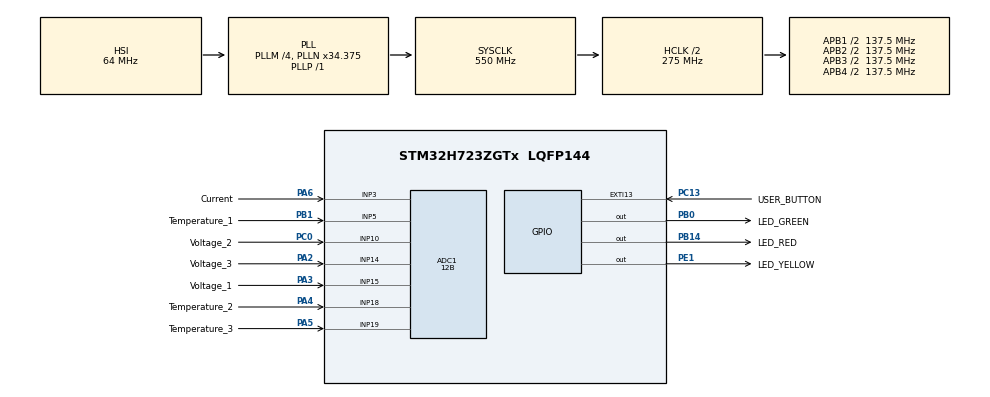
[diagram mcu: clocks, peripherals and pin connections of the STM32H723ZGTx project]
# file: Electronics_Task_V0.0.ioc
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ADC1.Channel-0\#ChannelRegularConversion=ADC_CHANNEL_15
ADC1.Channel-1\#ChannelRegularConversion=ADC_CHANNEL_14
ADC1.Channel-2\#ChannelRegularConversion=ADC_CHANNEL_10
ADC1.Channel-3\#ChannelRegularConversion=ADC_CHANNEL_5
ADC1.Channel-4\#ChannelRegularConversion=ADC_CHANNEL_18
ADC1.Channel-5\#ChannelRegularConversion=ADC_CHANNEL_19
ADC1.Channel-6\#ChannelRegularConversion=ADC_CHANNEL_3
ADC1.ConversionDataManagement=ADC_CONVERSIONDATA_DMA_CIRCULAR
ADC1.EOCSelection=ADC_EOC_SEQ_CONV
ADC1.ExternalTrigConv=ADC_EXTERNALTRIG_T6_TRGO
ADC1.NbrOfConversion=7
ADC1.NbrOfConversionFlag=1
ADC1.OffsetNumber-0\#ChannelRegularConversion=ADC_OFFSET_NONE
ADC1.OffsetNumber-1\#ChannelRegularConversion=ADC_OFFSET_NONE
ADC1.OffsetNumber-2\#ChannelRegularConversion=ADC_OFFSET_NONE
ADC1.OffsetNumber-3\#ChannelRegularConversion=ADC_OFFSET_NONE
ADC1.OffsetNumber-4\#ChannelRegularConversion=ADC_OFFSET_NONE
ADC1.OffsetNumber-5\#ChannelRegularConversion=ADC_OFFSET_NONE
ADC1.OffsetNumber-6\#ChannelRegularConversion=ADC_OFFSET_NONE
ADC1.OffsetSignedSaturation-0\#ChannelRegularConversion=DISABLE
ADC1.OffsetSignedSaturation-1\#ChannelRegularConversion=DISABLE
ADC1.OffsetSignedSaturation-2\#ChannelRegularConversion=DISABLE
ADC1.OffsetSignedSaturation-3\#ChannelRegularConversion=DISABLE
ADC1.OffsetSignedSaturation-4\#ChannelRegularConversion=DISABLE
ADC1.OffsetSignedSaturation-5\#ChannelRegularConversion=DISABLE
ADC1.OffsetSignedSaturation-6\#ChannelRegularConversion=DISABLE
ADC1.Overrun=ADC_OVR_DATA_OVERWRITTEN
ADC1.Rank-0\#ChannelRegularConversion=1
ADC1.Rank-1\#ChannelRegularConversion=2
ADC1.Rank-2\#ChannelRegularConversion=3
ADC1.Rank-3\#ChannelRegularConversion=4
ADC1.Rank-4\#ChannelRegularConversion=5
ADC1.Rank-5\#ChannelRegularConversion=6
ADC1.Rank-6\#ChannelRegularConversion=7
ADC1.Resolution=ADC_RESOLUTION_12B
ADC1.SamplingTime-0\#ChannelRegularConversion=ADC_SAMPLETIME_810CYCLES_5
ADC1.SamplingTime-1\#ChannelRegularConversion=ADC_SAMPLETIME_810CYCLES_5
ADC1.SamplingTime-2\#ChannelRegularConversion=ADC_SAMPLETIME_810CYCLES_5
ADC1.SamplingTime-3\#ChannelRegularConversion=ADC_SAMPLETIME_810CYCLES_5
ADC1.SamplingTime-4\#ChannelRegularConversion=ADC_SAMPLETIME_810CYCLES_5
ADC1.SamplingTime-5\#ChannelRegularConversion=ADC_SAMPLETIME_810CYCLES_5
ADC1.SamplingTime-6\#ChannelRegularConversion=ADC_SAMPLETIME_810CYCLES_5
ADC1.master=1
CORTEX_M7.CPU_ICache=Enabled
CORTEX_M7.default_mode_Activation=1
Dma.ADC1.0.Direction=DMA_PERIPH_TO_MEMORY
Dma.ADC1.0.EventEnable=DISABLE
Dma.ADC1.0.FIFOMode=DMA_FIFOMODE_DISABLE
Dma.ADC1.0.Instance=DMA1_Stream0
Dma.ADC1.0.MemDataAlignment=DMA_MDATAALIGN_HALFWORD
Dma.ADC1.0.MemInc=DMA_MINC_ENABLE
Dma.ADC1.0.Mode=DMA_CIRCULAR
Dma.ADC1.0.PeriphDataAlignment=DMA_PDATAALIGN_HALFWORD
Dma.ADC1.0.PeriphInc=DMA_PINC_DISABLE
Dma.ADC1.0.Polarity=HAL_DMAMUX_REQ_GEN_RISING
Dma.ADC1.0.Priority=DMA_PRIORITY_VERY_HIGH
Dma.ADC1.0.RequestNumber=1
Dma.ADC1.0.SignalID=NONE
Dma.ADC1.0.SyncEnable=DISABLE
Dma.ADC1.0.SyncPolarity=HAL_DMAMUX_SYNC_NO_EVENT
Dma.ADC1.0.SyncRequestNumber=1
Dma.ADC1.0.SyncSignalID=NONE
Dma.Request0=ADC1
Mcu.Family=STM32H7
Mcu.Name=STM32H723ZGTx
Mcu.Package=LQFP144
NVIC.DMA1_Stream0_IRQn=true\:0\:0\:false\:false\:true\:false\:true\:true
NVIC.PriorityGroup=NVIC_PRIORITYGROUP_4
PA13(JTMS/SWDIO).GPIO_Label=SWDIO
PA13(JTMS/SWDIO).Mode=Trace_Asynchronous_SW
PA13(JTMS/SWDIO).Signal=DEBUG_JTMS-SWDIO
PA14(JTCK/SWCLK).GPIO_Label=SWCLK
PA14(JTCK/SWCLK).Mode=Trace_Asynchronous_SW
PA14(JTCK/SWCLK).Signal=DEBUG_JTCK-SWCLK
PA2.GPIO_Label=Voltage_3
PA2.Signal=ADCx_INP14
PA3.GPIO_Label=Voltage_1
PA3.Signal=ADCx_INP15
PA4.GPIO_Label=Temperature_2
PA4.Signal=ADCx_INP18
PA5.GPIO_Label=Temperature_3
PA5.Signal=ADCx_INP19
PA6.GPIO_Label=Current
PA6.Signal=ADCx_INP3
PB0.GPIO_Label=LED_GREEN
PB0.Signal=GPIO_Output
PB1.GPIO_Label=Temperature_1
PB1.Signal=ADCx_INP5
PB14.GPIO_Label=LED_RED
PB14.Signal=GPIO_Output
PB3(JTDO/TRACESWO).Mode=Trace_Asynchronous_SW
PB3(JTDO/TRACESWO).Signal=DEBUG_JTDO-SWO
PC0.GPIO_Label=Voltage_2
PC0.Signal=ADCx_INP10
PC13.GPIO_Label=USER_BUTTON
PC13.Signal=GPXTI13
PC14-OSC32_IN.Mode=LSE-External-Oscillator
PC14-OSC32_IN.Signal=RCC_OSC32_IN
PC15-OSC32_OUT.Mode=LSE-External-Oscillator
PC15-OSC32_OUT.Signal=RCC_OSC32_OUT
PE1.GPIO_Label=LED_YELLOW
PE1.Signal=GPIO_Output
ProjectManager.HeapSize=0x200
ProjectManager.StackSize=0x400
ProjectManager.TargetToolchain=STM32CubeIDE
RCC.ADCFreq_Value=3000000
RCC.APB1Freq_Value=137500000
RCC.APB2Freq_Value=137500000
RCC.APB3Freq_Value=137500000
RCC.APB4Freq_Value=137500000
RCC.CortexFreq_Value=550000000
RCC.D1PPRE=RCC_APB3_DIV2
RCC.D2PPRE1=RCC_APB1_DIV2
RCC.D2PPRE2=RCC_APB2_DIV2
RCC.D3PPRE=RCC_APB4_DIV2
RCC.DIVM1=4
RCC.DIVM2=4
RCC.DIVN1=34
RCC.DIVN2=12
RCC.DIVP1=1
RCC.DIVP2=64
RCC.DIVQ1=4
RCC.HCLKFreq_Value=275000000
RCC.HPRE=RCC_HCLK_DIV2
RCC.HSE_VALUE=8000000
RCC.PLL2FRACN=0
RCC.PLLFRACN=3072
RCC.SYSCLKFreq_VALUE=550000000
RCC.SYSCLKSource=RCC_SYSCLKSOURCE_PLLCLK
RCC.USBCLockSelection=RCC_USBCLKSOURCE_HSI48
RCC.USBFreq_Value=48000000
SH.ADCx_INP10.0=ADC1_INP10,IN10-Single-Ended
SH.ADCx_INP14.0=ADC1_INP14,IN14-Single-Ended
SH.ADCx_INP15.0=ADC1_INP15,IN15-Single-Ended
SH.ADCx_INP18.0=ADC1_INP18,IN18-Single-Ended
SH.ADCx_INP19.0=ADC1_INP19,IN19-Single-Ended
SH.ADCx_INP3.0=ADC1_INP3,IN3-Single-Ended
SH.ADCx_INP5.0=ADC1_INP5,IN5-Single-Ended
TIM6.Period=99
TIM6.Prescaler=27500 - 1
TIM6.TIM_MasterOutputTrigger=TIM_TRGO_UPDATE
VP_MEMORYMAP_VS_MEMORYMAP.Mode=CurAppReg
VP_TIM6_VS_ClockSourceINT.Mode=Enable_Timer
board=NUCLEO-H723ZG

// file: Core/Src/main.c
/* USER CODE BEGIN Header */
/**
 ******************************************************************************
 * @file           : main.c
 * @brief          : Main program body
 ******************************************************************************
 * @attention
 *
 * Copyright (c) 2026 STMicroelectronics.
 * All rights reserved.
 *
 * This software is licensed under terms that can be found in the LICENSE file
 * in the root directory of this software component.
 * If no LICENSE file comes with this software, it is provided AS-IS.
 *
 ******************************************************************************
 */
/* USER CODE END Header */
#include "main.h"
#include "adc.h"
#include "dma.h"
#include "tim.h"
#include "gpio.h"

/* USER CODE BEGIN Includes */
#include<math.h>
/* USER CODE END Includes */

/* USER CODE BEGIN PD */

/* ADC defaults */
#define ADC_CHANNEL_COUNT     7U
#define ADC_MAX_VALUE         4095.0f
#define ADC_VREF              3.3f

/* Voltage divider values */
#define VOLTAGE_R_TOP         47000.0f
#define VOLTAGE_R_BOTTOM      10000.0f

/* NTC divider values: 3.3V -> 10k pull-up -> ADC node -> NTC -> GND */
#define NTC_PULLUP_OHM        10000.0f
#define NTC_R0_OHM            10000.0f
#define NTC_T0_K              298.15f
#define NTC_BETA              3950.0f

/* Hall current sensor: TMCS1101A4B */
#define CURRENT_ZERO_V_DEFAULT        1.65f
#define CURRENT_SENS_V_PER_A          0.400f

/* Digital filtering */
#define MOVING_AVG_SIZE               16U
#define CURRENT_OFFSET_CAL_SAMPLES    128U

/*
 * ADC rank mapping:
 * Rank 1: PA3 / ADC1_INP15 -> Voltage_1
 * Rank 2: PA2 / ADC1_INP14 -> Voltage_3
 * Rank 3: PC0 / ADC1_INP10 -> Voltage_2
 * Rank 4: PB1 / ADC1_INP5  -> Temperature_1
 * Rank 5: PA4 / ADC1_INP18 -> Temperature_2
 * Rank 6: PA5 / ADC1_INP19 -> Temperature_3
 * Rank 7: PA6 / ADC1_INP3  -> Current
 */
#define ADC_V1      0U
#define ADC_V3      1U
#define ADC_V2      2U
#define ADC_T1      3U
#define ADC_T2      4U
#define ADC_T3      5U
#define ADC_I1      6U

#define FILT_V1         0U
#define FILT_V2         1U
#define FILT_V3         2U
#define FILT_T1         3U
#define FILT_T2         4U
#define FILT_T3         5U
#define FILT_I1         6U

/* USER CODE END PD */

/* USER CODE BEGIN PV */

typedef struct
{
	float adc_pin_v[ADC_CHANNEL_COUNT];

	float voltage_1;
	float voltage_2;
	float voltage_3;

	float temperature_1;
	float temperature_2;
	float temperature_3;

	float current;
} MeasurementData;

MeasurementData data;
uint16_t adc_raw[ADC_CHANNEL_COUNT];

volatile uint8_t adc_sequence_ready = 0;
volatile uint32_t adc_sequence_counter = 0;

/* This value is measured at startup with 0 A current */
static float current_zero_v = CURRENT_ZERO_V_DEFAULT;

/* Moving average buffers */
static float moving_avg_buffer[ADC_CHANNEL_COUNT][MOVING_AVG_SIZE] = {0};
static float moving_avg_sum[ADC_CHANNEL_COUNT] = {0};
static uint8_t moving_avg_index = 0;
static uint8_t moving_avg_count = 0;

/* USER CODE END PV */

void SystemClock_Config(void);
static void MPU_Config(void);
/* USER CODE BEGIN PFP */
static float ADCRawToVolt(uint16_t raw);
static float VoltConv(float vadc);
static float NTCRawToTemp(float vadc);
static float HallToCurr(float vadc);

static float MovingAvg_Update(uint8_t channel, float new_sample);
static void MovingAvgHelper(void);
static void CurrOffsetCalibrate(void);

static void main_Func(void);
/* USER CODE END PFP */

int main(void)
{

	/* MPU Configuration--------------------------------------------------------*/
	MPU_Config();

	/* Enable the CPU Cache */

	/* Enable I-Cache---------------------------------------------------------*/
	SCB_EnableICache();

	/* MCU Configuration--------------------------------------------------------*/

	/* Reset of all peripherals, Initializes the Flash interface and the Systick. */
	HAL_Init();

	/* Configure the system clock */
	SystemClock_Config();

	/* Initialize all configured peripherals */
	MX_GPIO_Init();
	MX_DMA_Init();
	MX_ADC1_Init();
	MX_TIM6_Init();
	/* USER CODE BEGIN 2 */
	if (HAL_ADCEx_Calibration_Start(&hadc1, ADC_CALIB_OFFSET, ADC_SINGLE_ENDED) != HAL_OK)
	{
		HAL_GPIO_WritePin(LED_RED_GPIO_Port, LED_RED_Pin, GPIO_PIN_SET);
		Error_Handler();

	}

	if (HAL_ADC_Start_DMA(&hadc1, (uint32_t*)adc_raw, ADC_CHANNEL_COUNT) != HAL_OK)
	{
		HAL_GPIO_WritePin(LED_RED_GPIO_Port, LED_RED_Pin, GPIO_PIN_SET);
		Error_Handler();
	}

	if (HAL_TIM_Base_Start(&htim6) != HAL_OK)
	{
		HAL_GPIO_WritePin(LED_RED_GPIO_Port, LED_RED_Pin, GPIO_PIN_SET);
		Error_Handler();
	}

	CurrOffsetCalibrate();
	/* USER CODE END 2 */

	/* Infinite loop */
	while (1)
	{

		/* USER CODE BEGIN 3 */
		if (adc_sequence_ready)
		{
			adc_sequence_ready = 0;
			main_Func();
			HAL_GPIO_WritePin(LED_GREEN_GPIO_Port, LED_GREEN_Pin, GPIO_PIN_SET);
		}
	}
	/* USER CODE END 3 */
}

void SystemClock_Config(void)
{
	RCC_OscInitTypeDef RCC_OscInitStruct = {0};
	RCC_ClkInitTypeDef RCC_ClkInitStruct = {0};

	/** Supply configuration update enable
	 */
	HAL_PWREx_ConfigSupply(PWR_LDO_SUPPLY);

	/** Configure the main internal regulator output voltage
	 */
	__HAL_PWR_VOLTAGESCALING_CONFIG(PWR_REGULATOR_VOLTAGE_SCALE0);

	while(!__HAL_PWR_GET_FLAG(PWR_FLAG_VOSRDY)) {}

	/** Initializes the RCC Oscillators according to the specified parameters
	 * in the RCC_OscInitTypeDef structure.
	 */
	RCC_OscInitStruct.OscillatorType = RCC_OSCILLATORTYPE_HSI;
	RCC_OscInitStruct.HSIState = RCC_HSI_DIV1;
	RCC_OscInitStruct.HSICalibrationValue = 64;
	RCC_OscInitStruct.PLL.PLLState = RCC_PLL_ON;
	RCC_OscInitStruct.PLL.PLLSource = RCC_PLLSOURCE_HSI;
	RCC_OscInitStruct.PLL.PLLM = 4;
	RCC_OscInitStruct.PLL.PLLN = 34;
	RCC_OscInitStruct.PLL.PLLP = 1;
	RCC_OscInitStruct.PLL.PLLQ = 4;
	RCC_OscInitStruct.PLL.PLLR = 2;
	RCC_OscInitStruct.PLL.PLLRGE = RCC_PLL1VCIRANGE_3;
	RCC_OscInitStruct.PLL.PLLVCOSEL = RCC_PLL1VCOWIDE;
	RCC_OscInitStruct.PLL.PLLFRACN = 3072;
	if (HAL_RCC_OscConfig(&RCC_OscInitStruct) != HAL_OK)
	{
		Error_Handler();
	}

	/** Initializes the CPU, AHB and APB buses clocks
	 */
	RCC_ClkInitStruct.ClockType = RCC_CLOCKTYPE_HCLK|RCC_CLOCKTYPE_SYSCLK
			|RCC_CLOCKTYPE_PCLK1|RCC_CLOCKTYPE_PCLK2
			|RCC_CLOCKTYPE_D3PCLK1|RCC_CLOCKTYPE_D1PCLK1;
	RCC_ClkInitStruct.SYSCLKSource = RCC_SYSCLKSOURCE_PLLCLK;
	RCC_ClkInitStruct.SYSCLKDivider = RCC_SYSCLK_DIV1;
	RCC_ClkInitStruct.AHBCLKDivider = RCC_HCLK_DIV2;
	RCC_ClkInitStruct.APB3CLKDivider = RCC_APB3_DIV2;
	RCC_ClkInitStruct.APB1CLKDivider = RCC_APB1_DIV2;
	RCC_ClkInitStruct.APB2CLKDivider = RCC_APB2_DIV2;
	RCC_ClkInitStruct.APB4CLKDivider = RCC_APB4_DIV2;

	if (HAL_RCC_ClockConfig(&RCC_ClkInitStruct, FLASH_LATENCY_3) != HAL_OK)
	{
		Error_Handler();
	}
}

/* USER CODE BEGIN 4 */

/**
 * @brief  Converts raw ADC value to ADC input voltage.
 * @param  raw ADC raw value.
 * @retval ADC input voltage in volts.
 */
static float ADCRawToVolt(uint16_t raw)
{
	return ((float)raw * ADC_VREF) / ADC_MAX_VALUE;
}

/**
 * @brief  Converts ADC voltage to the real input voltage.
 * @param  vadc Voltage measured at the ADC pin.
 * @retval Input voltage before the voltage divider.
 */
static float VoltConv(float vadc)
{
	return vadc * (VOLTAGE_R_TOP + VOLTAGE_R_BOTTOM) / VOLTAGE_R_BOTTOM;
}

/**
 * @brief  Converts NTC ADC voltage to temperature.
 * @param  vadc Voltage measured at the NTC divider output.
 * @retval Temperature in degrees Celsius.
 */
static float NTCRawToTemp(float vadc)
{
	float r_ntc;
	float temp_k;

	if (vadc <= 0.01f)
	{
		return -273.15f;
	}

	if (vadc >= (ADC_VREF - 0.01f))
	{
		return -273.15f;
	}

	r_ntc = (NTC_PULLUP_OHM * vadc) / (ADC_VREF - vadc);

	temp_k = 1.0f / ((1.0f / NTC_T0_K) + (1.0f / NTC_BETA) * logf(r_ntc / NTC_R0_OHM));

	return temp_k - 273.15f;
}

/**
 * @brief  Converts Hall sensor output voltage to current.
 * @param  vadc Voltage measured at the Hall sensor output.
 * @retval Current in amperes.
 */
static float HallToCurr(float vadc)
{
	return (vadc - current_zero_v) / CURRENT_SENS_V_PER_A;
}

/**
 * @brief  Updates the moving average filter for one channel.
 * @param  channel Channel index.
 * @param  new_sample New sample value.
 * @retval Filtered value.
 */
static float MovingAvg_Update(uint8_t channel, float new_sample)
{
	float divisor;

	if (channel >= ADC_CHANNEL_COUNT)
	{
		return new_sample;
	}

	moving_avg_sum[channel] -= moving_avg_buffer[channel][moving_avg_index];
	moving_avg_buffer[channel][moving_avg_index] = new_sample;
	moving_avg_sum[channel] += new_sample;

	if (moving_avg_count < MOVING_AVG_SIZE)
	{
		divisor = (float)(moving_avg_count + 1U);
	}
	else
	{
		divisor = (float)MOVING_AVG_SIZE;
	}

	return moving_avg_sum[channel] / divisor;
}

/**
 * @brief  Updates the moving average index after one full ADC sequence.
 * @param  None
 * @retval None
 */
static void MovingAvgHelper(void)
{
	if (moving_avg_count < MOVING_AVG_SIZE)
	{
		moving_avg_count++;
	}

	moving_avg_index++;

	if (moving_avg_index >= MOVING_AVG_SIZE)
	{
		moving_avg_index = 0;
	}
}

/**
 * @brief  Converts ADC samples to voltage, temperature and current values.
 * @param  None
 * @retval None
 */
static void main_Func(void)
{
	float v1_raw;
	float v2_raw;
	float v3_raw;

	float t1_raw;
	float t2_raw;
	float t3_raw;

	float current_raw;

	for (uint8_t i = 0; i < ADC_CHANNEL_COUNT; i++)
	{
		data.adc_pin_v[i] = ADCRawToVolt(adc_raw[i]);
	}

	v1_raw = VoltConv(data.adc_pin_v[ADC_V1]);
	v2_raw = VoltConv(data.adc_pin_v[ADC_V2]);
	v3_raw = VoltConv(data.adc_pin_v[ADC_V3]);

	t1_raw = NTCRawToTemp(data.adc_pin_v[ADC_T1]);
	t2_raw = NTCRawToTemp(data.adc_pin_v[ADC_T2]);
	t3_raw = NTCRawToTemp(data.adc_pin_v[ADC_T3]);

	current_raw = HallToCurr(data.adc_pin_v[ADC_I1]);

	data.voltage_1 = MovingAvg_Update(FILT_V1, v1_raw);
	data.voltage_2 = MovingAvg_Update(FILT_V2, v2_raw);
	data.voltage_3 = MovingAvg_Update(FILT_V3, v3_raw);

	data.temperature_1 = MovingAvg_Update(FILT_T1, t1_raw);
	data.temperature_2 = MovingAvg_Update(FILT_T2, t2_raw);
	data.temperature_3 = MovingAvg_Update(FILT_T3, t3_raw);

	data.current = MovingAvg_Update(FILT_I1, current_raw);

	MovingAvgHelper();
}

/**
 * @brief  Calculates Hall sensor offset using zero-current samples.
 * @param  None
 * @retval None
 */
static void CurrOffsetCalibrate(void)
{
	float offset_sum = 0.0f;
	uint16_t samples = 0;
	uint32_t start_tick = HAL_GetTick();

	/*
	 * Wait for CURRENT_OFFSET_CAL_SAMPLES complete ADC sequences.
	 * Current must be 0 A during this step.
	 */
	while (samples < CURRENT_OFFSET_CAL_SAMPLES)
	{
		if (adc_sequence_ready)
		{
			adc_sequence_ready = 0;

			offset_sum += ADCRawToVolt(adc_raw[ADC_I1]);
			samples++;
		}

		/*
		 * Safety timeout: if ADC/DMA/TIM trigger is wrong, do not block forever.
		 */
		if ((HAL_GetTick() - start_tick) > 5000U)
		{
			Error_Handler();
		}
	}

	current_zero_v = offset_sum / (float)CURRENT_OFFSET_CAL_SAMPLES;
}

/**
 * @brief  ADC conversion callback function.
 * @param  hadc Pointer to ADC handle.
 * @retval None
 */
void HAL_ADC_ConvCpltCallback(ADC_HandleTypeDef *hadc)
{
	if (hadc->Instance == ADC1)
	{
		adc_sequence_ready = 1;
		adc_sequence_counter++;//Debug variable
	}
}

/**
 * @brief  ADC error callback function.
 * @param  hadc Pointer to ADC handle.
 * @retval None
 */
void HAL_ADC_ErrorCallback(ADC_HandleTypeDef *hadc)
{
	if (hadc->Instance == ADC1)
	{
		HAL_GPIO_WritePin(LED_RED_GPIO_Port, LED_RED_Pin, GPIO_PIN_SET);
	}
}
/* USER CODE END 4 */

/* MPU Configuration */

void MPU_Config(void)
{
	MPU_Region_InitTypeDef MPU_InitStruct = {0};

	/* Disables the MPU */
	HAL_MPU_Disable();

	/** Initializes and configures the Region and the memory to be protected
	 */
	MPU_InitStruct.Enable = MPU_REGION_ENABLE;
	MPU_InitStruct.Number = MPU_REGION_NUMBER0;
	MPU_InitStruct.BaseAddress = 0x0;
	MPU_InitStruct.Size = MPU_REGION_SIZE_4GB;
	MPU_InitStruct.SubRegionDisable = 0x87;
	MPU_InitStruct.TypeExtField = MPU_TEX_LEVEL0;
	MPU_InitStruct.AccessPermission = MPU_REGION_NO_ACCESS;
	MPU_InitStruct.DisableExec = MPU_INSTRUCTION_ACCESS_DISABLE;
	MPU_InitStruct.IsShareable = MPU_ACCESS_SHAREABLE;
	MPU_InitStruct.IsCacheable = MPU_ACCESS_NOT_CACHEABLE;
	MPU_InitStruct.IsBufferable = MPU_ACCESS_NOT_BUFFERABLE;

	HAL_MPU_ConfigRegion(&MPU_InitStruct);
	/* Enables the MPU */
	HAL_MPU_Enable(MPU_PRIVILEGED_DEFAULT);

}

void Error_Handler(void)
{
	__disable_irq();
	while (1)
	{
	}
}
